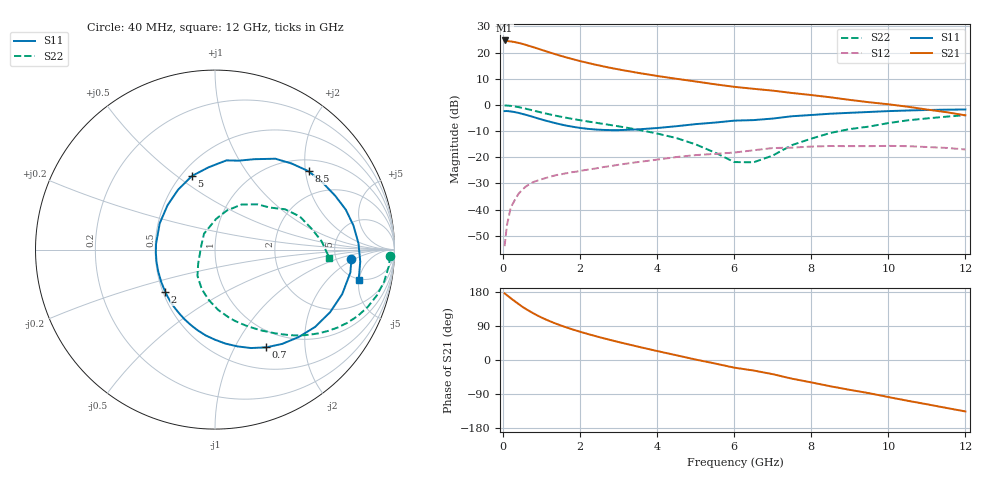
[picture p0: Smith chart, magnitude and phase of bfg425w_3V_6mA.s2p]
! Filename: 36bfg425.001
! BFG425W Field C1
! V1=8.294E-001V,V2=3.000E+000V, I1=7.360E-005A, I2=5.990E-003A
# GHz  S  MA  R 50
!  S11  S21  S12  S22
!Freq(GHz)  Mag  Ang  Mag  Ang  Mag  Ang  Mag  Ang
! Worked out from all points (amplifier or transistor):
!   44 points, 40 MHz to 12 GHz, reference 50 ohm
!   highest |S21| = 24.6 dB at 40 MHz (marker M1)
!   |S21| within 3 dB of that: start of sweep to 877.3 MHz
!   unconditionally stable (mu >= 1): 2.292 GHz to end of sweep
!   at 700 MHz: K = 0.38, MSG = 26.3 dB, |S12| = -30.2 dB
!   at 2.4 GHz: K = 1.03, MAG = 18.8 dB, |S12| = -24.3 dB
!   at 12 GHz: K = 1.46, MAG = 2.5 dB, |S12| = -17.0 dB
!   S11 on the Smith chart (normalised r, x): 40 MHz: 6.94, -1.78; 700 MHz: 0.77, -1.35; 2 GHz: 0.51, -0.28; 5 GHz: 0.57, +0.57; 8.5 GHz: 1.28, +2.08; 12 GHz: 4.86, -4.94
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0.04  0.762 -4.0  17.06 175.7  0.002 70.7  0.976 -2.0
0.2  0.751 -19.3  16.34 163.0  0.011 77.2  0.959 -10.8
0.4  0.705 -37.6  15.33 147.9  0.02 68.4  0.909 -20.6
0.5  0.674 -46.4  14.71 140.6  0.024 64.2  0.877 -25.0
0.7  0.615 -62.3  13.27 128.2  0.031 57.0  0.809 -32.5
0.8  0.584 -69.9  12.59 122.3  0.034 54.2  0.776 -35.7
1  0.527 -83.6  11.29 112.0  0.038 49.4  0.715 -41.4
1.3  0.46 -102.1  9.599 98.8  0.044 44.1  0.638 -48.4
1.6  0.408 -119.1  8.26 87.5  0.049 40.5  0.576 -54.1
2  0.364 -139.6  6.891 74.5  0.055 36.9  0.511 -61.1
2.2  0.349 -149.4  6.346 68.7  0.058 35.4  0.483 -64.4
2.6  0.333 -168.2  5.458 57.6  0.065 32.4  0.434 -71.1
3  0.33 174.5  4.771 47.4  0.072 29.1  0.39 -77.9
3.5  0.341 154.6  4.104 35.3  0.081 24.5  0.337 -86.9
4.5  0.392 121.7  3.16 12.5  0.101 13.2  0.233 -108.4
5  0.43 107.4  2.805 1.1  0.11 5.8  0.176 -123.8
6  0.501 82.7  2.218 -20.2  0.123 -8.5  0.081 -178.0
6.5  0.513 75.0  2.033 -27.7  0.136 -10.2  0.08 161.2
7.5  0.608 56.4  1.691 -49.3  0.153 -29.3  0.171 88.0
8.5  0.68 40.0  1.398 -69.4  0.164 -46.2  0.292 59.4
10.5  0.783 9.8  0.925 -107.5  0.163 -81.5  0.507 21.4
12  0.818 -11.9  0.633 -135.7  0.141 -112.3  0.639 -4.2
